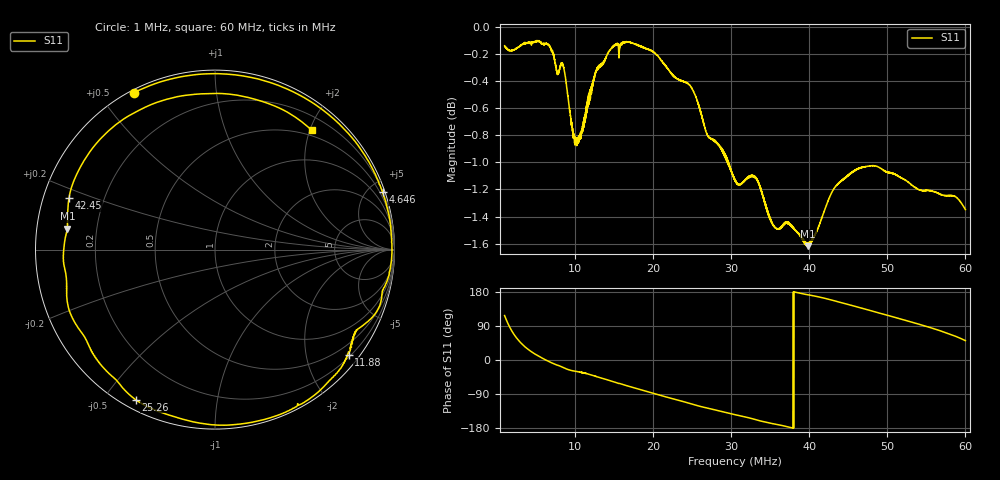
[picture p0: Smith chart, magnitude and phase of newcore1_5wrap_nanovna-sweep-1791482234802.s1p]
! NanoVNA Web complex sweep
! Processing: unaveraged complex samples; linear segment spacing; no smoothing
# Hz S RI R 50
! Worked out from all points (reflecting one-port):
!   5050 points, 1 MHz to 60 MHz, reference 50 ohm
!   lowest |S11| = -1.6 dB at 39.85 MHz (marker M1), VSWR 10.76, Z = 4.67 + j3.47 ohm
!   phase of S11 starts at 117 deg and turns -426 deg over the sweep
!   S11 on the Smith chart (normalised r, x): 1 MHz: 0.01, +0.61; 4.646 MHz: 0.24, +6.00; 11.88 MHz: 0.26, -2.87; 25.26 MHz: 0.04, -0.60; 42.45 MHz: 0.08, +0.17; 60 MHz: 0.41, +2.03
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1000000  -0.4501 0.875
1210330  -0.2767 0.9424
1712785  0.0962 0.9752
2156815  0.353 0.9149
2635900  0.5579 0.8087
3535645  0.7965 0.581
4645720  0.934 0.3195
6351730  0.9853 -0.0128
8384920  0.9178 -0.312
9880600  0.796 -0.4427
1.187874e7  0.7439 -0.5852
1.404046e7  0.6053 -0.7646
1.575816e7  0.458 -0.8701
1.949736e7  0.09 -0.9768
2.313139e7  -0.2563 -0.9217
2.525806e7  -0.4423 -0.8359
2.86584e7  -0.6417 -0.6346
3.050462e7  -0.7153 -0.5099
3.349598e7  -0.8204 -0.3078
3.787786e7  -0.8432 -0.00792
3.985262e7  -0.8219 0.1157
4.24467e7  -0.8134 0.2881
4.52511e7  -0.7233 0.5055
4.896692e7  -0.495 0.7366
5.262433e7  -0.1946 0.8548
5.671408e7  0.1874 0.847
5.844346e7  0.3662 0.785
5.999756e7  0.538 0.666
